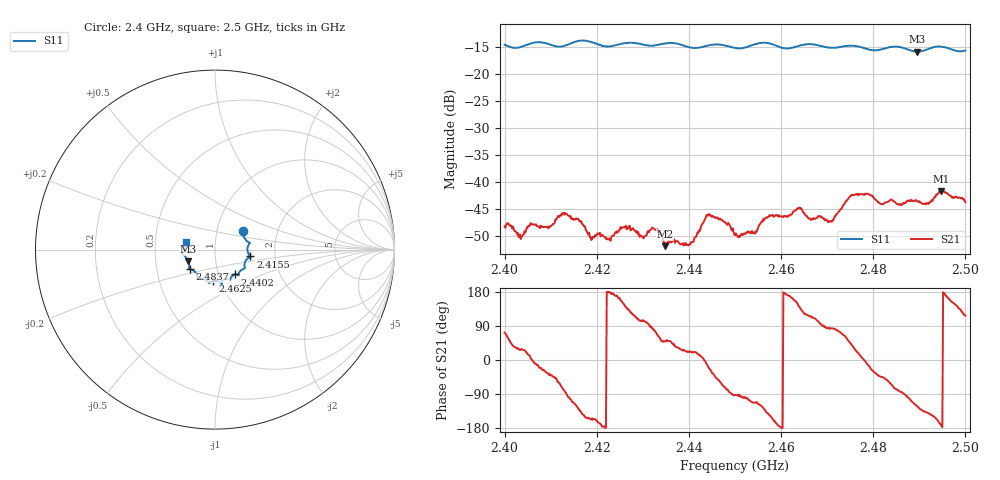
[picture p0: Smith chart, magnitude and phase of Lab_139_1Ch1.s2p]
# Hz S RI R 50
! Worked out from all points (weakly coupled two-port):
!   601 points, 2.4 GHz to 2.5 GHz, reference 50 ohm
!   highest |S21| = -41.69 dB at 2.4947 GHz (marker M1); lowest = -51.9 dB at 2.4348 GHz (marker M2)
!   lowest |S11| = -15.8 dB at 2.4895 GHz (marker M3), VSWR 1.39, Z = 36.8 - j4.99 ohm
!   |S11| at or under -10 dB: start of sweep to end of sweep
!   S12 and S22 are empty: the file has one direction only
!   S11 on the Smith chart (normalised r, x): 2.4 GHz: 1.33, +0.29; 2.4155 GHz: 1.49, -0.12; 2.4402 GHz: 1.20, -0.34; 2.4625 GHz: 0.92, -0.33; 2.4837 GHz: 0.74, -0.17; 2.5 GHz: 0.72, +0.06
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2.4e9  0.1555 0.105  0.00117 0.00368  0 0  0 0
2.4035e9  0.1706 0.0549  0.0026 0.00139  0 0  0 0
2.412667e9  0.1817 -0.00987  0.0012 -0.00489  0 0  0 0
2.4155e9  0.1975 -0.0382  -0.00225 -0.00399  0 0  0 0
2.416667e9  0.2013 -0.0422  -0.00324 -0.00283  0 0  0 0
2.419e9  0.1929 -0.0434  -0.00265 -0.00131  0 0  0 0
2.425833e9  0.1662 -0.0993  -0.0032 0.00202  0 0  0 0
2.429833e9  0.154 -0.1102  -0.000678 0.00302  0 0  0 0
2.433333e9  0.1319 -0.1338  0.00152 0.00305  0 0  0 0
2.434833e9  0.1308 -0.1419  0.00163 0.00193  0 0  0 0
2.440167e9  0.1115 -0.1382  0.00245 0.001  0 0  0 0
2.444167e9  0.0862 -0.1636  0.00464 -0.00147  0 0  0 0
2.45e9  0.0641 -0.1635  -0.000159 -0.00321  0 0  0 0
2.4625e9  -0.0115 -0.1762  -0.00494 0.00152  0 0  0 0
2.466667e9  -0.0346 -0.1868  -0.00167 0.00415  0 0  0 0
2.470833e9  -0.0573 -0.1665  0.00049 0.00431  0 0  0 0
2.475833e9  -0.0938 -0.1579  0.00644 0.0039  0 0  0 0
2.483333e9  -0.1394 -0.1099  0.00361 -0.0055  0 0  0 0
2.483667e9  -0.1413 -0.1097  0.00323 -0.00593  0 0  0 0
2.4895e9  -0.1479 -0.0659  -0.00353 -0.00563  0 0  0 0
2.494667e9  -0.1795 -0.0207  -0.00815 -0.00121  0 0  0 0
2.5e9  -0.1614 0.0396  -0.00293 0.00578  0 0  0 0
